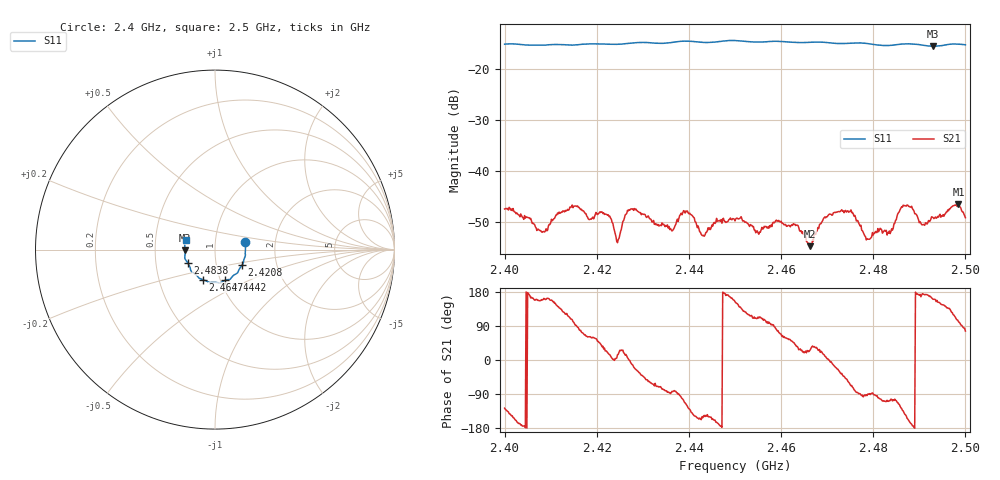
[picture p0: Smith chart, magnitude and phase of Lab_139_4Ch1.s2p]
# Hz S RI R 50
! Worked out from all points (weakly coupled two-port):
!   601 points, 2.4 GHz to 2.5 GHz, reference 50 ohm
!   highest |S21| = -46.58 dB at 2.4985 GHz (marker M1); lowest = -54.8 dB at 2.4663 GHz (marker M2)
!   lowest |S11| = -15.6 dB at 2.493 GHz (marker M3), VSWR 1.40, Z = 35.8 - j0.247 ohm
!   |S11| at or under -10 dB: start of sweep to end of sweep
!   S12 and S22 are empty: the file has one direction only
!   S11 on the Smith chart (normalised r, x): 2.4 GHz: 1.40, +0.12; 2.4208 GHz: 1.33, -0.24; 2.4442 GHz: 1.05, -0.37; 2.4647 GHz: 0.83, -0.29; 2.4838 GHz: 0.73, -0.11; 2.5 GHz: 0.72, +0.08
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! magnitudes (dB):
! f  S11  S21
! 2.4 GHz  -15.2  -47.5
! 2.4083 GHz  -15.4  -51.9
! 2.4167 GHz  -15.3  -47.6
! 2.4208 GHz  -15.2  -48.2
! 2.4245 GHz  -15.2  -54.1
! 2.4272 GHz  -15.0  -47.7
! 2.4333 GHz  -15.1  -50.5
! 2.4363 GHz  -14.9  -51.8
! 2.4393 GHz  -14.6  -47.9
! 2.4442 GHz  -14.9  -51.2
! 2.45 GHz  -14.5  -49.8
! 2.4647 GHz  -14.9  -51.9
! 2.4663 GHz  -14.8  -54.8
! 2.4667 GHz  -14.8  -54.7
! 2.473 GHz  -15.1  -47.8
! 2.4788 GHz  -15.1  -53.4
! 2.4833 GHz  -15.5  -52.2
! 2.4838 GHz  -15.4  -51.9
! 2.487 GHz  -15.1  -46.9
! 2.493 GHz  -15.6  -49.2
! 2.4985 GHz  -15.2  -46.6
! 2.5 GHz  -15.3  -49.2
